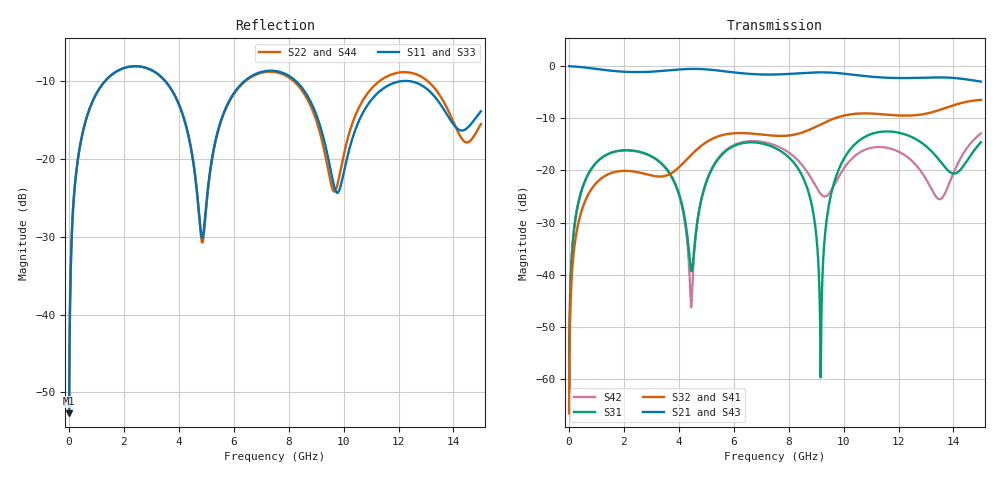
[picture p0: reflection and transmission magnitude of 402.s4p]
! Created with skrf 1.8.0 (http://scikit-rf.org).
# GHz S RI R 50.0
!freq ReS11 ImS11 ReS12 ImS12 ReS13 ImS13
! ReS14 ImS14
! ReS21 ImS21 ReS22 ImS22 ReS23 ImS23
! ReS24 ImS24
! ReS31 ImS31 ReS32 ImS32 ReS33 ImS33
! ReS34 ImS34
! ReS41 ImS41 ReS42 ImS42 ReS43 ImS43
! ReS44 ImS44
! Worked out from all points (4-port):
!   2499 points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, 5 MHz to 15 GHz, reference 50 ohm
!   strongest paths, dB at 5 MHz, 3.476 GHz, 7.19 GHz, 11.1 GHz, 15 GHz:
!     S21: 0.0, -0.9, -1.6, -2.1, -3.0
!     S43: 0.0, -0.9, -1.6, -2.1, -3.0
!     S32: -66.6, -21.1, -13.2, -9.1, -6.5
!     S41: -66.6, -21.1, -13.3, -9.2, -6.5
!     S31: -62.6, -19.2, -15.1, -12.9, -14.6
!     S42: -62.6, -19.3, -14.7, -15.6, -12.9
!   lowest |S11| = -52.7 dB at 5 MHz (marker M1), VSWR 1.00, Z = 50.2 + j0.141 ohm
!   |S11| at or under -10 dB: 3.498 GHz to 6.399 GHz (2.901 GHz wide, 58.6 % of centre); 8.256 GHz to 12.19 GHz (3.939 GHz wide, 38.5 % of centre); 12.31 GHz to end of sweep (the widest 3 of 4)
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0.005  0.00185 0.0014  0.9981 -0.0036  9.35e-05 0.000733  -9.08e-05 -0.00046
       0.9981 -0.0036  0.00185 0.0014  -9.08e-05 -0.00046  9.35e-05 0.000733
       9.35e-05 0.000733  -9.08e-05 -0.00046  0.00185 0.0014  0.9981 -0.0036
       -9.08e-05 -0.00046  9.35e-05 0.000733  0.9981 -0.0036  0.00185 0.0014
1.725719  0.3371 0.135  0.3782 -0.8094  0.1489 0.0336  -0.0946 0.0221
          0.3782 -0.8094  0.3375 0.1345  -0.0947 0.0223  0.148 0.0356
          0.1489 0.0336  -0.0947 0.0223  0.337 0.1351  0.3782 -0.8094
          -0.0946 0.0221  0.148 0.0356  0.3782 -0.8094  0.3375 0.1344
4.977074  0.0355 0.0302  -0.9309 0.0189  0.0133 0.0725  0.0107 0.1841
          -0.9309 0.0189  0.0333 0.0288  0.012 0.1842  0.0199 0.0726
          0.0133 0.0725  0.012 0.1842  0.0348 0.0314  -0.9308 0.0193
          0.0107 0.1841  0.0199 0.0726  -0.9308 0.0193  0.0341 0.0301
8.090871  0.3079 -0.1286  0.2789 0.7961  0.0878 -0.0912  0.1847 -0.1129
          0.2789 0.7961  0.3009 -0.1226  0.1837 -0.1164  0.0751 -0.1214
          0.0878 -0.0912  0.1837 -0.1164  0.3112 -0.1272  0.2778 0.7953
          0.1847 -0.1129  0.0751 -0.1214  0.2778 0.7953  0.3036 -0.1258
9.166319  0.1036 -0.1196  0.749 0.4444  -0.00103 -0.000117  0.1363 -0.2398
          0.749 0.4444  0.098 -0.1018  0.1322 -0.242  -0.0524 -0.0283
          -0.00103 -0.000117  0.1322 -0.242  0.107 -0.1223  0.7475 0.4456
          0.1363 -0.2398  -0.0524 -0.0283  0.7475 0.4456  0.0991 -0.1061
10.37932  0.1113 0.0932  0.7938 -0.2233  0.1435 0.0996  -0.1229 -0.3251
          0.7938 -0.2233  0.1328 0.1221  -0.1278 -0.3236  0.0613 0.1206
          0.1435 0.0996  -0.1278 -0.3236  0.1083 0.0893  0.7949 -0.2215
          -0.1229 -0.3251  0.0613 0.1206  0.7949 -0.2215  0.1326 0.1186
15  0.1959 0.0485  -0.7103 0.00924  0.0648 0.1745  0.0392 0.4737
    -0.7103 0.00924  0.161 0.0448  0.0491 0.4714  0.0674 0.2154
    0.0648 0.1745  0.0491 0.4714  0.2023 0.0464  -0.7102 0.00703
    0.0392 0.4737  0.0674 0.2154  -0.7102 0.00703  0.1544 0.0478
